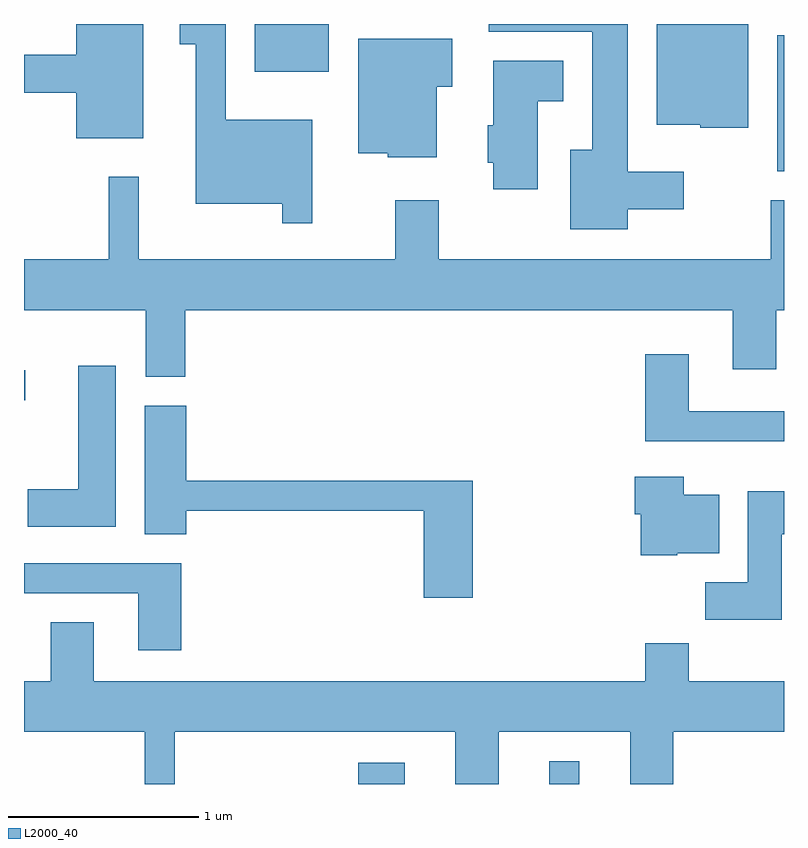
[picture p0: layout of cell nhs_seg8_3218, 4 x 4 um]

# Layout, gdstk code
import gdstk
lib = gdstk.Library(unit=1e-6, precision=1e-09)
def R(c, l, rs):  # rectangles x0, y0, x1, y1
    for r in rs: c.add(gdstk.rectangle(r[:2], r[2:], *l))
def P(c, l, *ps):  # polygons
    for p in ps: c.add(gdstk.Polygon(p, *l))
L2000_40 = (2000, 40)

nhs_seg8_3218 = lib.new_cell('nhs_seg8_3218')
R(nhs_seg8_3218, L2000_40, [(283.371,1858.342,283.614,1858.454), (284.376,1858.342,284.534,1858.463), (281.611,1860.361,281.618,1860.519), (285.576,1861.566,285.611,1862.284), (282.826,1862.091,283.214,1862.342)])
P(nhs_seg8_3218, L2000_40, [(285.424,1862.342),(284.941,1862.342),(284.941,1861.811),(285.17,1861.811),(285.17,1861.796),(285.424,1861.796)],
  [(282.239,1862.342),(281.886,1862.342),(281.886,1862.179),(281.611,1862.179),(281.611,1861.981),(281.886,1861.981),(281.886,1861.741),(282.239,1861.741)],
  [(283.129,1861.839),(282.674,1861.839),(282.674,1862.342),(282.431,1862.342),(282.431,1862.236),(282.516,1862.236),(282.516,1861.396),(282.971,1861.396),(282.971,1861.293),(283.129,1861.293)],
  [(284.789,1861.366),(285.084,1861.366),(285.084,1861.564),(284.789,1861.564),(284.789,1862.342),(284.056,1862.342),(284.056,1862.301),(284.601,1862.301),(284.601,1861.679),(284.486,1861.679),(284.486,1861.261),(284.789,1861.261)],
  [(283.784,1862.011),(283.864,1862.011),(283.864,1862.264),(283.371,1862.264),(283.371,1861.661),(283.526,1861.661),(283.526,1861.641),(283.784,1861.641)],
  [(284.314,1861.936),(284.449,1861.936),(284.449,1862.149),(284.081,1862.149),(284.081,1861.809),(284.051,1861.809),(284.051,1861.611),(284.081,1861.611),(284.081,1861.471),(284.314,1861.471)],
  [(282.459,1860.836),(285.341,1860.836),(285.341,1860.526),(285.569,1860.526),(285.569,1860.836),(285.611,1860.836),(285.611,1861.414),(285.541,1861.414),(285.541,1861.104),(283.794,1861.104),(283.794,1861.414),(283.566,1861.414),(283.566,1861.104),(282.214,1861.104),(282.214,1861.538),(282.056,1861.538),(282.056,1861.104),(281.611,1861.104),(281.611,1860.836),(282.251,1860.836),(282.251,1860.486),(282.459,1860.486)],
  [(285.611,1860.304),(285.109,1860.304),(285.109,1860.604),(284.881,1860.604),(284.881,1860.146),(285.611,1860.146)],
  [(282.094,1860.544),(281.896,1860.544),(281.896,1859.894),(281.631,1859.894),(281.631,1859.696),(282.094,1859.696)],
  [(283.974,1859.939),(282.464,1859.939),(282.464,1860.334),(282.246,1860.334),(282.246,1859.656),(282.464,1859.656),(282.464,1859.781),(283.716,1859.781),(283.716,1859.321),(283.974,1859.321)],
  [(285.05,1859.556),(285.269,1859.556),(285.269,1859.864),(285.084,1859.864),(285.084,1859.959),(284.826,1859.959),(284.826,1859.761),(284.856,1859.761),(284.856,1859.546),(285.05,1859.546)],
  [(285.599,1859.656),(285.611,1859.656),(285.611,1859.884),(285.421,1859.884),(285.421,1859.404),(285.196,1859.404),(285.196,1859.206),(285.599,1859.206)],
  [(282.439,1859.504),(281.611,1859.504),(281.611,1859.346),(282.211,1859.346),(282.211,1859.046),(282.439,1859.046)],
  [(282.404,1858.616),(283.881,1858.616),(283.881,1858.342),(284.109,1858.342),(284.109,1858.616),(284.801,1858.616),(284.801,1858.342),(285.029,1858.342),(285.029,1858.616),(285.611,1858.616),(285.611,1858.884),(285.109,1858.884),(285.109,1859.084),(284.881,1859.084),(284.881,1858.884),(281.979,1858.884),(281.979,1859.194),(281.751,1859.194),(281.751,1858.884),(281.611,1858.884),(281.611,1858.616),(282.246,1858.616),(282.246,1858.342),(282.404,1858.342)])

lib.write_gds('nhs_seg8_3218.gds')
